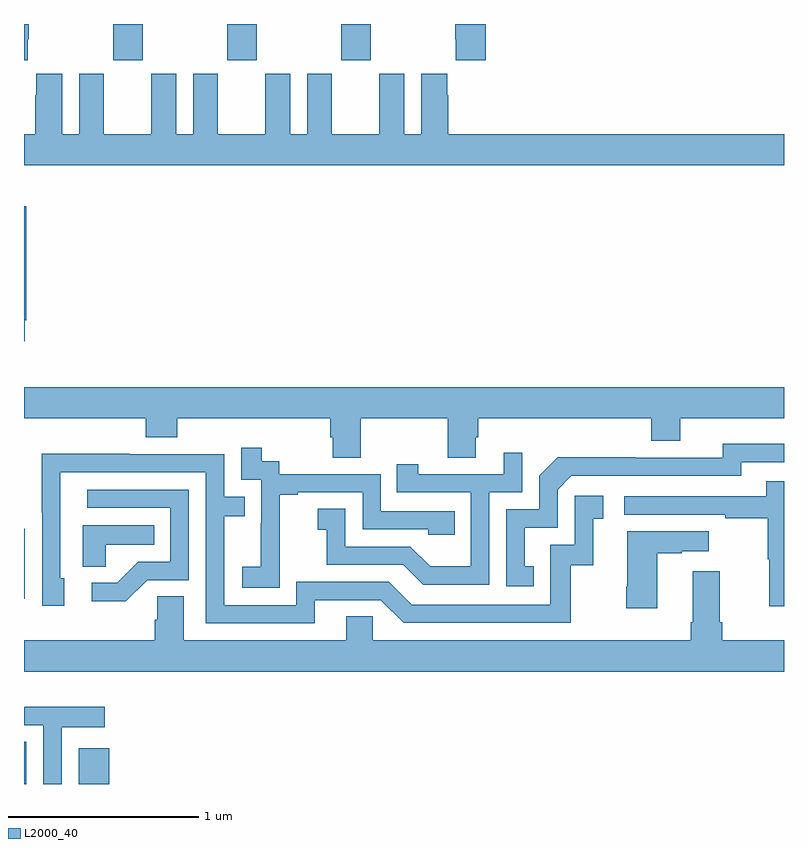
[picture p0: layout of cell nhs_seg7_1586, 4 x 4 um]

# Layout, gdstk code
import gdstk
lib = gdstk.Library(unit=1e-6, precision=1e-09)
def R(c, l, rs):  # rectangles x0, y0, x1, y1
    for r in rs: c.add(gdstk.rectangle(r[:2], r[2:], *l))
def A(c, l, x, y, w, h, nx, ny, dx, dy):  # array of equal rectangles
    R(c, l, [(x+i*dx, y+j*dy, x+i*dx+w, y+j*dy+h) for i in range(nx) for j in range(ny)])
def P(c, l, *ps):  # polygons
    for p in ps: c.add(gdstk.Polygon(p, *l))
L2000_40 = (2000, 40)

nhs_seg7_1586 = lib.new_cell('nhs_seg7_1586')
A(nhs_seg7_1586, L2000_40, 219.469, 1027.809, 0.155, 0.191, 3, 1, 0.6, 0)
R(nhs_seg7_1586, L2000_40, [(219,1024,219.013,1024.223), (219.287,1024,219.448,1024.189), (219,1024.974,219.003,1025.344)])
P(nhs_seg7_1586, L2000_40, [(221.429,1028),(221.269,1028),(221.269,1027.921),(221.273,1027.921),(221.273,1027.809),(221.429,1027.809)],
  [(219.019,1027.921),(219.024,1027.921),(219.024,1028),(219,1028),(219,1027.809),(219.019,1027.809)],
  [(223,1027.42),(221.234,1027.42),(221.234,1027.625),(221.227,1027.625),(221.227,1027.738),(221.09,1027.738),(221.09,1027.42),(221.002,1027.42),(221.002,1027.738),(220.871,1027.738),(220.871,1027.42),(220.621,1027.42),(220.621,1027.738),(220.49,1027.738),(220.49,1027.42),(220.402,1027.42),(220.402,1027.738),(220.271,1027.738),(220.271,1027.42),(220.021,1027.42),(220.021,1027.738),(219.89,1027.738),(219.89,1027.42),(219.802,1027.42),(219.802,1027.738),(219.671,1027.738),(219.671,1027.42),(219.421,1027.42),(219.421,1027.738),(219.29,1027.738),(219.29,1027.42),(219.202,1027.42),(219.202,1027.738),(219.065,1027.738),(219.065,1027.625),(219.059,1027.625),(219.059,1027.42),(219,1027.42),(219,1027.256),(223,1027.256)],
  [(219.004,1026.442),(219.011,1026.442),(219.011,1027.04),(219,1027.04),(219,1026.33),(219.004,1026.33)],
  [(220.773,1025.924),(221.23,1025.924),(221.23,1025.716),(221.377,1025.716),(221.377,1025.826),(221.39,1025.826),(221.39,1025.924),(222.302,1025.924),(222.302,1025.807),(222.454,1025.807),(222.454,1025.924),(223,1025.924),(223,1026.088),(219,1026.088),(219,1025.924),(219.641,1025.924),(219.641,1025.825),(219.806,1025.825),(219.806,1025.924),(220.613,1025.924),(220.613,1025.826),(220.625,1025.826),(220.625,1025.716),(220.773,1025.716)],
  [(221.684,1025.145),(221.635,1025.145),(221.635,1025.349),(221.808,1025.349),(221.808,1025.55),(221.88,1025.622),(222.774,1025.622),(222.774,1025.694),(223,1025.694),(223,1025.791),(222.678,1025.791),(222.678,1025.718),(222.218,1025.718),(222.218,1025.72),(221.81,1025.72),(221.712,1025.622),(221.712,1025.445),(221.538,1025.445),(221.538,1025.04),(221.684,1025.04)],
  [(220.347,1025.239),(220.346,1025.239),(220.346,1025.523),(220.441,1025.523),(220.441,1025.535),(220.782,1025.535),(220.782,1025.34),(221.127,1025.34),(221.127,1025.313),(221.267,1025.313),(221.267,1025.436),(220.878,1025.436),(220.878,1025.631),(220.344,1025.631),(220.344,1025.7),(220.252,1025.7),(220.252,1025.77),(220.143,1025.77),(220.143,1025.601),(220.248,1025.601),(220.248,1025.372),(220.247,1025.372),(220.247,1025.143),(220.149,1025.143),(220.149,1025.033),(220.347,1025.033)],
  [(221.448,1025.535),(221.622,1025.535),(221.622,1025.743),(221.525,1025.743),(221.525,1025.631),(221.074,1025.631),(221.074,1025.683),(220.963,1025.683),(220.963,1025.535),(221.352,1025.535),(221.352,1025.146),(221.138,1025.146),(221.034,1025.25),(220.692,1025.25),(220.692,1025.449),(220.545,1025.449),(220.545,1025.339),(220.594,1025.339),(220.594,1025.154),(220.997,1025.154),(221.102,1025.049),(221.448,1025.049)],
  [(220.531,1024.968),(220.878,1024.968),(220.998,1024.848),(221.878,1024.848),(221.878,1025.151),(221.996,1025.151),(221.996,1025.397),(222.049,1025.397),(222.049,1025.518),(221.898,1025.518),(221.898,1025.259),(221.769,1025.259),(221.769,1024.944),(221.04,1024.944),(220.92,1025.064),(220.434,1025.064),(220.434,1024.941),(220.053,1024.941),(220.053,1025.41),(220.163,1025.41),(220.163,1025.511),(220.053,1025.511),(220.053,1025.736),(219.557,1025.736),(219.557,1025.738),(219.094,1025.738),(219.094,1025.431),(219.096,1025.431),(219.096,1024.938),(219.211,1024.938),(219.211,1025.082),(219.192,1025.082),(219.192,1025.64),(219.957,1025.64),(219.957,1024.845),(220.531,1024.845)],
  [(223,1025.593),(222.907,1025.593),(222.907,1025.514),(222.159,1025.514),(222.159,1025.418),(222.691,1025.418),(222.691,1025.398),(222.915,1025.398),(222.915,1025.184),(222.922,1025.184),(222.922,1024.935),(223,1024.935)],
  [(219.648,1025.073),(219.867,1025.073),(219.867,1025.55),(219.333,1025.55),(219.333,1025.454),(219.771,1025.454),(219.771,1025.169),(219.602,1025.169),(219.491,1025.058),(219.357,1025.058),(219.357,1024.961),(219.535,1024.961)],
  [(219.429,1025.258),(219.686,1025.258),(219.686,1025.362),(219.308,1025.362),(219.308,1025.143),(219.429,1025.143)],
  [(222.334,1025.215),(222.461,1025.215),(222.461,1025.225),(222.604,1025.225),(222.604,1025.329),(222.176,1025.329),(222.176,1025.038),(222.169,1025.038),(222.169,1024.926),(222.334,1024.926)],
  [(223,1024.756),(222.674,1024.756),(222.674,1024.852),(222.661,1024.852),(222.661,1025.119),(222.521,1025.119),(222.521,1024.852),(222.509,1024.852),(222.509,1024.756),(220.836,1024.756),(220.836,1024.883),(220.697,1024.883),(220.697,1024.756),(219.841,1024.756),(219.841,1024.988),(219.702,1024.988),(219.702,1024.865),(219.689,1024.865),(219.689,1024.756),(219,1024.756),(219,1024.592),(223,1024.592)],
  [(219.198,1024.298),(219.424,1024.298),(219.424,1024.406),(219.005,1024.406),(219.005,1024.404),(219,1024.404),(219,1024.308),(219.102,1024.308),(219.102,1024),(219.198,1024)])

lib.write_gds('nhs_seg7_1586.gds')
